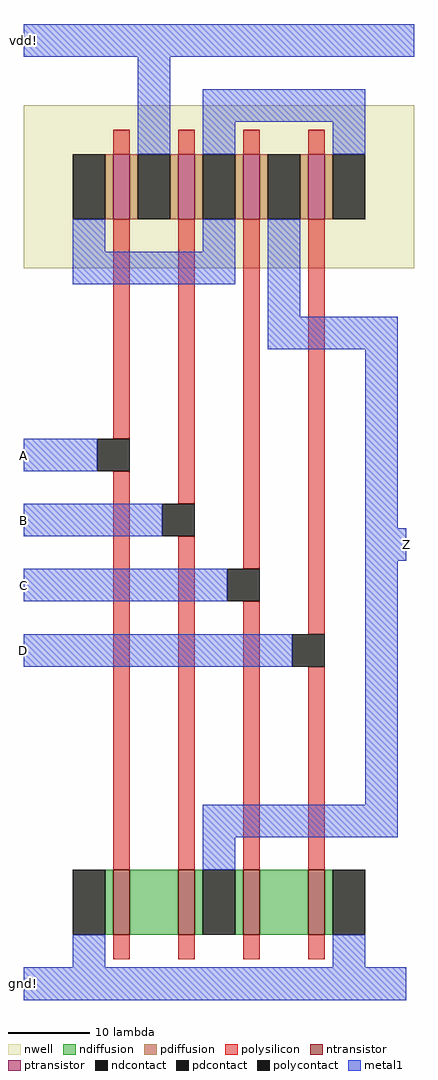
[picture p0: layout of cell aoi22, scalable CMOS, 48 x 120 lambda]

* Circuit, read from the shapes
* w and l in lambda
.subckt aoi22 A B C D Z gnd! vdd!
M1 n1 A gnd! VSUBS nfet w=8 l=2
M2 Z B n1 VSUBS nfet w=8 l=2
M3 n2 C Z VSUBS nfet w=8 l=2
M4 gnd! D n2 VSUBS nfet w=8 l=2
M5 vdd! A n3 n4 pfet w=8 l=2
M6 n3 B vdd! n4 pfet w=8 l=2
M7 Z C n3 n4 pfet w=8 l=2
M8 n3 D Z n4 pfet w=8 l=2
.ends

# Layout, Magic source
magic
tech scmos
<< nwell >>
rect -14 90 34 110
<< ntransistor >>
rect -3 8 -1 16
rect 5 8 7 16
rect 13 8 15 16
rect 21 8 23 16
<< ptransistor >>
rect -3 96 -1 104
rect 5 96 7 104
rect 13 96 15 104
rect 21 96 23 104
<< ndiffusion >>
rect -4 8 -3 16
rect -1 8 5 16
rect 7 8 8 16
rect 12 8 13 16
rect 15 8 21 16
rect 23 8 24 16
<< pdiffusion >>
rect -4 96 -3 104
rect -1 96 0 104
rect 4 96 5 104
rect 7 96 8 104
rect 12 96 13 104
rect 15 96 16 104
rect 20 96 21 104
rect 23 96 24 104
<< ndcontact >>
rect -8 8 -4 16
rect 8 8 12 16
rect 24 8 28 16
<< pdcontact >>
rect -8 96 -4 104
rect 0 96 4 104
rect 8 96 12 104
rect 16 96 20 104
rect 24 96 28 104
<< polysilicon >>
rect -3 104 -1 107
rect 5 104 7 107
rect 13 104 15 107
rect 21 104 23 107
rect -3 69 -1 96
rect -3 16 -1 65
rect 5 61 7 96
rect 5 16 7 57
rect 13 53 15 96
rect 13 16 15 49
rect 21 45 23 96
rect 21 16 23 41
rect -3 5 -1 8
rect 5 5 7 8
rect 13 5 15 8
rect 21 5 23 8
<< polycontact >>
rect -5 65 -1 69
rect 3 57 7 61
rect 11 49 15 53
rect 19 41 23 45
<< metal1 >>
rect -14 116 34 120
rect 0 104 4 116
rect 8 108 28 112
rect 8 104 12 108
rect 24 104 28 108
rect -8 92 -4 96
rect 8 92 12 96
rect -8 88 12 92
rect 16 84 20 96
rect 16 80 32 84
rect -14 65 -5 69
rect -14 57 3 61
rect 28 58 32 80
rect 28 54 33 58
rect -14 49 11 53
rect -14 41 19 45
rect 28 24 32 54
rect 8 20 32 24
rect 8 16 12 20
rect -8 4 -4 8
rect 24 4 28 8
rect -14 0 33 4
<< labels >>
rlabel metal1 -14 0 -14 4 2 gnd!
rlabel metal1 -14 41 -14 45 3 D
rlabel metal1 -14 49 -14 53 3 C
rlabel metal1 -14 57 -14 61 3 B
rlabel metal1 -14 65 -14 69 3 A
rlabel metal1 33 54 33 58 7 Z
rlabel metal1 -14 116 -14 120 4 vdd!
<< end >>
